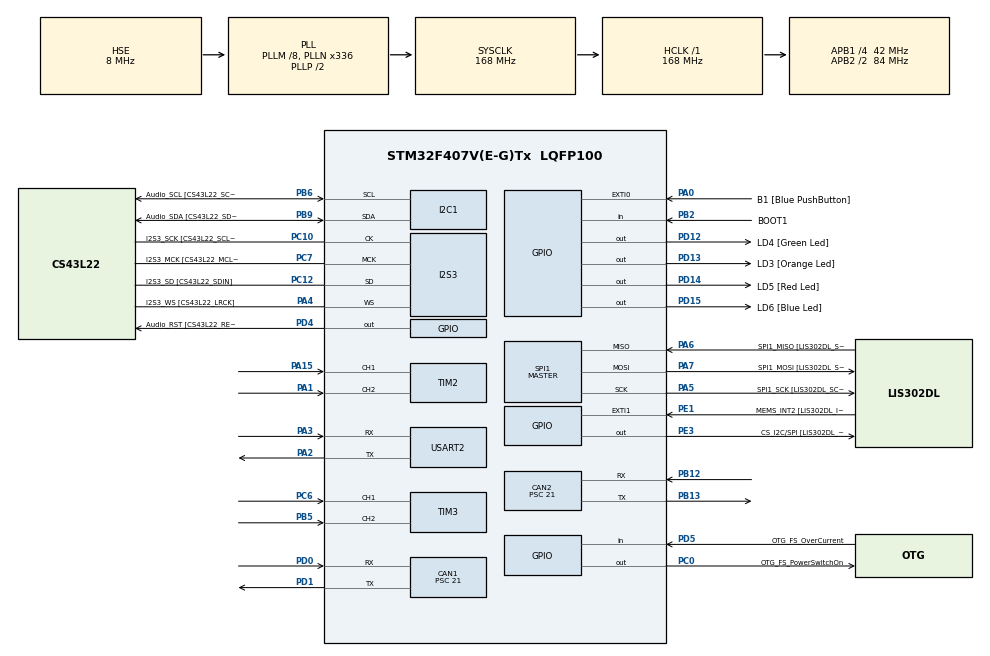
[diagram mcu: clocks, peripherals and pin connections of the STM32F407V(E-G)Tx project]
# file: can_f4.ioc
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CAN1.BS1=CAN_BS1_15TQ
CAN1.BS2=CAN_BS2_4TQ
CAN1.CalculateBaudRate=100000
CAN1.CalculateTimeBit=10000
CAN1.CalculateTimeQuantum=500.0
CAN1.Prescaler=21
CAN2.BS1=CAN_BS1_15TQ
CAN2.BS2=CAN_BS2_4TQ
CAN2.CalculateBaudRate=100000
CAN2.CalculateTimeBit=10000
CAN2.CalculateTimeQuantum=500.0
CAN2.Prescaler=21
I2S3.AudioFreq-Half_Duplex_Master=I2S_AUDIOFREQ_96K
I2S3.ErrorAudioFreq=-2.34 %
I2S3.ErrorAudioFreq-Half_Duplex_Master=0.8 %
I2S3.FullDuplexMode=I2S_FULLDUPLEXMODE_DISABLE
I2S3.Instance=SPI$Index
I2S3.RealAudioFreq=93.75 KHz
I2S3.RealAudioFreq-Half_Duplex_Master=96.774 KHz
I2S3.VirtualMode=I2S_MODE_MASTER
Mcu.Family=STM32F4
Mcu.Name=STM32F407V(E-G)Tx
Mcu.Package=LQFP100
NVIC.CAN1_RX0_IRQn=true\:0\:0\:false\:false\:true\:true\:true\:true
NVIC.CAN1_RX1_IRQn=true\:0\:0\:false\:false\:true\:true\:true\:true
NVIC.CAN2_RX0_IRQn=true\:0\:0\:false\:false\:true\:true\:true\:true
NVIC.CAN2_RX1_IRQn=true\:0\:0\:false\:false\:true\:true\:true\:true
NVIC.PriorityGroup=NVIC_PRIORITYGROUP_0
NVIC.TIM3_IRQn=true\:0\:0\:false\:false\:true\:true\:true\:true
PA0-WKUP.GPIO_Label=B1 [Blue PushButton]
PA0-WKUP.GPIO_ModeDefaultEXTI=GPIO_MODE_EVT_RISING
PA0-WKUP.GPIO_PuPd=GPIO_NOPULL
PA0-WKUP.Signal=GPXTI0
PA1.Signal=S_TIM2_CH2
PA10.GPIO_Label=OTG_FS_ID
PA10.GPIO_Mode=GPIO_MODE_AF_PP
PA10.GPIO_PuPd=GPIO_NOPULL
PA10.GPIO_Speed=GPIO_SPEED_FREQ_LOW
PA10.Signal=USB_OTG_FS_ID
PA11.GPIO_Label=OTG_FS_DM
PA11.GPIO_Mode=GPIO_MODE_AF_PP
PA11.GPIO_PuPd=GPIO_NOPULL
PA11.GPIO_Speed=GPIO_SPEED_FREQ_LOW
PA11.Signal=USB_OTG_FS_DM
PA12.GPIO_Label=OTG_FS_DP
PA12.GPIO_Mode=GPIO_MODE_AF_PP
PA12.GPIO_PuPd=GPIO_NOPULL
PA12.GPIO_Speed=GPIO_SPEED_FREQ_LOW
PA12.Signal=USB_OTG_FS_DP
PA13.GPIO_Label=SWDIO
PA13.Mode=Serial_Wire
PA13.Signal=SYS_JTMS-SWDIO
PA14.GPIO_Label=SWCLK
PA14.Mode=Serial_Wire
PA14.Signal=SYS_JTCK-SWCLK
PA15.Signal=S_TIM2_CH1_ETR
PA2.Mode=Asynchronous
PA2.Signal=USART2_TX
PA3.Mode=Asynchronous
PA3.Signal=USART2_RX
PA4.GPIO_Label=I2S3_WS [CS43L22_LRCK]
PA4.GPIO_Mode=GPIO_MODE_AF_PP
PA4.GPIO_PuPd=GPIO_NOPULL
PA4.GPIO_Speed=GPIO_SPEED_FREQ_LOW
PA4.Mode=Half_Duplex_Master
PA4.Signal=I2S3_WS
PA5.GPIO_Label=SPI1_SCK [LIS302DL_SCL/SPC]
PA5.GPIO_Mode=GPIO_MODE_AF_PP
PA5.GPIO_PuPd=GPIO_NOPULL
PA5.GPIO_Speed=GPIO_SPEED_FREQ_LOW
PA5.Mode=Full_Duplex_Master
PA5.Signal=SPI1_SCK
PA6.GPIO_Label=SPI1_MISO [LIS302DL_SDO]
PA6.GPIO_Mode=GPIO_MODE_AF_PP
PA6.GPIO_PuPd=GPIO_NOPULL
PA6.GPIO_Speed=GPIO_SPEED_FREQ_LOW
PA6.Mode=Full_Duplex_Master
PA6.Signal=SPI1_MISO
PA7.GPIO_Label=SPI1_MOSI [LIS302DL_SDA/SDI/SDO]
PA7.GPIO_Mode=GPIO_MODE_AF_PP
PA7.GPIO_PuPd=GPIO_NOPULL
PA7.GPIO_Speed=GPIO_SPEED_FREQ_LOW
PA7.Mode=Full_Duplex_Master
PA7.Signal=SPI1_MOSI
PA9.GPIO_Label=VBUS_FS
PA9.GPIO_Mode=GPIO_MODE_INPUT
PA9.GPIO_PuPd=GPIO_NOPULL
PA9.Signal=USB_OTG_FS_VBUS
PB10.GPIO_Label=CLK_IN [MP45DT02_CLK]
PB10.GPIO_Mode=GPIO_MODE_AF_PP
PB10.GPIO_PuPd=GPIO_NOPULL
PB10.GPIO_Speed=GPIO_SPEED_FREQ_LOW
PB10.Signal=I2S2_CK
PB12.Mode=CAN_Activate
PB12.Signal=CAN2_RX
PB13.Mode=CAN_Activate
PB13.Signal=CAN2_TX
PB2.GPIO_Label=BOOT1
PB2.GPIO_Mode=GPIO_MODE_INPUT
PB2.GPIO_PuPd=GPIO_NOPULL
PB2.Signal=GPIO_Input
PB3.GPIO_Label=SWO
PB3.Signal=SYS_JTDO-SWO
PB5.Signal=S_TIM3_CH2
PB6.GPIO_Label=Audio_SCL [CS43L22_SCL]
PB6.GPIO_Mode=GPIO_MODE_AF_OD
PB6.GPIO_Pu=GPIO_PULLUP
PB6.GPIO_PuPd=GPIO_NOPULL
PB6.GPIO_Speed=GPIO_SPEED_FREQ_LOW
PB6.Mode=I2C
PB6.Signal=I2C1_SCL
PB9.GPIO_Label=Audio_SDA [CS43L22_SDA]
PB9.GPIO_Mode=GPIO_MODE_AF_OD
PB9.GPIO_Pu=GPIO_PULLUP
PB9.GPIO_PuPd=GPIO_NOPULL
PB9.GPIO_Speed=GPIO_SPEED_FREQ_LOW
PB9.Mode=I2C
PB9.Signal=I2C1_SDA
PC0.GPIO_Label=OTG_FS_PowerSwitchOn
PC0.GPIO_PuPd=GPIO_NOPULL
PC0.GPIO_Speed=GPIO_SPEED_FREQ_LOW
PC0.PinState=GPIO_PIN_SET
PC0.Signal=GPIO_Output
PC10.GPIO_Label=I2S3_SCK [CS43L22_SCLK]
PC10.GPIO_Mode=GPIO_MODE_AF_PP
PC10.GPIO_PuPd=GPIO_NOPULL
PC10.GPIO_Speed=GPIO_SPEED_FREQ_LOW
PC10.Mode=Half_Duplex_Master
PC10.Signal=I2S3_CK
PC12.GPIO_Label=I2S3_SD [CS43L22_SDIN]
PC12.GPIO_Mode=GPIO_MODE_AF_PP
PC12.GPIO_PuPd=GPIO_NOPULL
PC12.GPIO_Speed=GPIO_SPEED_FREQ_LOW
PC12.Mode=Half_Duplex_Master
PC12.Signal=I2S3_SD
PC14-OSC32_IN.GPIO_Label=PC14-OSC32_IN
PC14-OSC32_IN.Mode=LSE-External-Oscillator
PC14-OSC32_IN.Signal=RCC_OSC32_IN
PC15-OSC32_OUT.GPIO_Label=PC15-OSC32_OUT
PC15-OSC32_OUT.Mode=LSE-External-Oscillator
PC15-OSC32_OUT.Signal=RCC_OSC32_OUT
PC3.GPIO_Label=PDM_OUT [MP45DT02_DOUT]
PC3.GPIO_Mode=GPIO_MODE_AF_PP
PC3.GPIO_PuPd=GPIO_NOPULL
PC3.GPIO_Speed=GPIO_SPEED_FREQ_LOW
PC3.Signal=I2S2_SD
PC6.Signal=S_TIM3_CH1
PC7.GPIO_Label=I2S3_MCK [CS43L22_MCLK]
PC7.GPIO_Mode=GPIO_MODE_AF_PP
PC7.GPIO_PuPd=GPIO_NOPULL
PC7.GPIO_Speed=GPIO_SPEED_FREQ_LOW
PC7.Mode=Master_Clock_Activated
PC7.Signal=I2S3_MCK
PD0.Mode=CAN_Activate
PD0.Signal=CAN1_RX
PD1.Mode=CAN_Activate
PD1.Signal=CAN1_TX
PD12.GPIO_Label=LD4 [Green Led]
PD12.GPIO_PuPd=GPIO_NOPULL
PD12.GPIO_Speed=GPIO_SPEED_FREQ_LOW
PD12.Signal=GPIO_Output
PD13.GPIO_Label=LD3 [Orange Led]
PD13.GPIO_PuPd=GPIO_NOPULL
PD13.GPIO_Speed=GPIO_SPEED_FREQ_LOW
PD13.Signal=GPIO_Output
PD14.GPIO_Label=LD5 [Red Led]
PD14.GPIO_PuPd=GPIO_NOPULL
PD14.GPIO_Speed=GPIO_SPEED_FREQ_LOW
PD14.Signal=GPIO_Output
PD15.GPIO_Label=LD6 [Blue Led]
PD15.GPIO_PuPd=GPIO_NOPULL
PD15.GPIO_Speed=GPIO_SPEED_FREQ_LOW
PD15.Signal=GPIO_Output
PD4.GPIO_Label=Audio_RST [CS43L22_RESET]
PD4.GPIO_PuPd=GPIO_NOPULL
PD4.GPIO_Speed=GPIO_SPEED_FREQ_LOW
PD4.Signal=GPIO_Output
PD5.GPIO_Label=OTG_FS_OverCurrent
PD5.GPIO_Mode=GPIO_MODE_INPUT
PD5.GPIO_PuPd=GPIO_NOPULL
PD5.Signal=GPIO_Input
PE1.GPIO_Label=MEMS_INT2 [LIS302DL_INT2]
PE1.GPIO_ModeDefaultEXTI=GPIO_MODE_EVT_RISING
PE1.GPIO_PuPd=GPIO_NOPULL
PE1.Signal=GPXTI1
PE3.GPIO_Label=CS_I2C/SPI [LIS302DL_CS_I2C/SPI]
PE3.GPIO_PuPd=GPIO_NOPULL
PE3.GPIO_Speed=GPIO_SPEED_FREQ_LOW
PE3.Signal=GPIO_Output
PH0-OSC_IN.GPIO_Label=PH0-OSC_IN
PH0-OSC_IN.Mode=HSE-External-Oscillator
PH0-OSC_IN.Signal=RCC_OSC_IN
PH1-OSC_OUT.GPIO_Label=PH1-OSC_OUT
PH1-OSC_OUT.Mode=HSE-External-Oscillator
PH1-OSC_OUT.Signal=RCC_OSC_OUT
ProjectManager.HeapSize=0x200
ProjectManager.StackSize=0x400
ProjectManager.TargetToolchain=STM32CubeIDE
RCC.48MHZClocksFreq_Value=48000000
RCC.AHBFreq_Value=168000000
RCC.APB1CLKDivider=RCC_HCLK_DIV4
RCC.APB1Freq_Value=42000000
RCC.APB1TimFreq_Value=84000000
RCC.APB2CLKDivider=RCC_HCLK_DIV2
RCC.APB2Freq_Value=84000000
RCC.APB2TimFreq_Value=168000000
RCC.CortexFreq_Value=168000000
RCC.HCLKFreq_Value=168000000
RCC.HSE_VALUE=8000000
RCC.HSI_VALUE=16000000
RCC.PLLM=8
RCC.PLLN=336
RCC.PLLQ=7
RCC.PLLSourceVirtual=RCC_PLLSOURCE_HSE
RCC.SYSCLKFreq_VALUE=168000000
RCC.SYSCLKSource=RCC_SYSCLKSOURCE_PLLCLK
RCC.VCOOutputFreq_Value=336000000
SH.S_TIM2_CH1_ETR.0=TIM2_CH1,Encoder_Interface
SH.S_TIM2_CH2.0=TIM2_CH2,Encoder_Interface
SH.S_TIM3_CH1.0=TIM3_CH1,Encoder_Interface
SH.S_TIM3_CH2.0=TIM3_CH2,Encoder_Interface
SPI1.BaudRatePrescaler-Full_Duplex_Master=SPI_BAUDRATEPRESCALER_2
SPI1.CalculateBaudRate-Full_Duplex_Master=42.0 MBits/s
SPI1.Direction=SPI_DIRECTION_2LINES
SPI1.Mode=SPI_MODE_MASTER
SPI1.Mode-Full_Duplex_Master=SPI_MODE_MASTER
SPI1.VirtualType=VM_MASTER
TIM2.EncoderMode=TIM_ENCODERMODE_TI12
TIM3.EncoderMode=TIM_ENCODERMODE_TI12
USART2.VirtualMode=VM_ASYNC
board=STM32F407G-DISC1

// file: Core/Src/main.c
/* USER CODE BEGIN Header */
/**
  ******************************************************************************
  * @file           : main.c
  * @brief          : Main program body
  ******************************************************************************
  * @attention
  *
  * Copyright (c) 2023 STMicroelectronics.
  * All rights reserved.
  *
  * This software is licensed under terms that can be found in the LICENSE file
  * in the root directory of this software component.
  * If no LICENSE file comes with this software, it is provided AS-IS.
  *
  ******************************************************************************
  */
/* USER CODE END Header */
#include "main.h"

CAN_HandleTypeDef hcan1;
CAN_HandleTypeDef hcan2;

I2C_HandleTypeDef hi2c1;

I2S_HandleTypeDef hi2s3;

SPI_HandleTypeDef hspi1;

TIM_HandleTypeDef htim2;
TIM_HandleTypeDef htim3;

UART_HandleTypeDef huart2;

void SystemClock_Config(void);
static void MX_GPIO_Init(void);
static void MX_I2C1_Init(void);
static void MX_I2S3_Init(void);
static void MX_SPI1_Init(void);
static void MX_CAN1_Init(void);
static void MX_TIM2_Init(void);
static void MX_USART2_UART_Init(void);
static void MX_CAN2_Init(void);
static void MX_TIM3_Init(void);

/* USER CODE BEGIN 0 */
uint32_t rot_new_state;
uint32_t rot_old_state;
uint32_t rot_cnt;
int rot_new_state1;
int rot_old_state1;
int rot_cnt1;
uint32_t _write(int file, char* p, int len){
	HAL_UART_Transmit(&huart2, p, len, 10);
	return len;

}
CAN_FilterRegister_TypeDef canFilter1;
CAN_RxHeaderTypeDef canRxHeader;
CAN_TxHeaderTypeDef canTxHeader;
uint8_t canRx0Data[8];
uint32_t txMailBox;
//uint8_t canTx0Data[8];

long int TxData[4];
uint8_t RxData[1] ;
uint8_t countq = 0;

void HAL_CAN_RxFifo0MsgPendingCallback(CAN_HandleTypeDef *hcan2){
	countq++;
}
/* USER CODE END 0 */

int main(void)
{

  /* MCU Configuration--------------------------------------------------------*/

  /* Reset of all peripherals, Initializes the Flash interface and the Systick. */
  HAL_Init();

  /* Configure the system clock */
  SystemClock_Config();

  /* Initialize all configured peripherals */
  MX_GPIO_Init();
  MX_I2C1_Init();
  MX_I2S3_Init();
  MX_SPI1_Init();
  MX_CAN1_Init();
  MX_TIM2_Init();
  MX_USART2_UART_Init();
  MX_CAN2_Init();
  MX_TIM3_Init();
  /* USER CODE BEGIN 2 */
  HAL_CAN_Start(&hcan2);
  HAL_TIM_Encoder_Start_IT(&htim2, TIM_CHANNEL_ALL);
  HAL_TIM_Encoder_Start_IT(&htim3, TIM_CHANNEL_ALL);
  HAL_CAN_ActivateNotification(&hcan2, CAN_IT_RX_FIFO0_MSG_PENDING);
  canTxHeader.StdId = 0x102;
  canTxHeader.RTR = CAN_RTR_DATA;
  canTxHeader.IDE = CAN_ID_STD;
  canTxHeader.DLC = 4;
//  canTxHeader.TransmitGlobalTime = DISABLE;
  /* USER CODE END 2 */

  /* Infinite loop */
  while (1)
  {
	  uint32_t last_print = 0, now = 0;
	  unsigned char a[4];
	    long int count1 = (int)TIM2->CNT/4;
	    uint16_t count = TIM3->CNT/4;
	    a[0] =  (unsigned)count1 >> 8;
	    a[1] =  (unsigned) count1;
	    a[2] = (unsigned) count >>  8;
	    a[3] = (unsigned) count;
	 	now = HAL_GetTick();
	 	if (now - last_print >= 1000) {
	 		printf("Encoder counter = %ld AND %ld\n", count, count1);
	 		HAL_CAN_AddTxMessage(&hcan2, &canTxHeader, a, &txMailBox);
	 		last_print = now;

	     }

  }
}

void SystemClock_Config(void)
{
  RCC_OscInitTypeDef RCC_OscInitStruct = {0};
  RCC_ClkInitTypeDef RCC_ClkInitStruct = {0};

  /** Configure the main internal regulator output voltage
  */
  __HAL_RCC_PWR_CLK_ENABLE();
  __HAL_PWR_VOLTAGESCALING_CONFIG(PWR_REGULATOR_VOLTAGE_SCALE1);

  /** Initializes the RCC Oscillators according to the specified parameters
  * in the RCC_OscInitTypeDef structure.
  */
  RCC_OscInitStruct.OscillatorType = RCC_OSCILLATORTYPE_HSE;
  RCC_OscInitStruct.HSEState = RCC_HSE_ON;
  RCC_OscInitStruct.PLL.PLLState = RCC_PLL_ON;
  RCC_OscInitStruct.PLL.PLLSource = RCC_PLLSOURCE_HSE;
  RCC_OscInitStruct.PLL.PLLM = 8;
  RCC_OscInitStruct.PLL.PLLN = 336;
  RCC_OscInitStruct.PLL.PLLP = RCC_PLLP_DIV2;
  RCC_OscInitStruct.PLL.PLLQ = 7;
  if (HAL_RCC_OscConfig(&RCC_OscInitStruct) != HAL_OK)
  {
    Error_Handler();
  }

  /** Initializes the CPU, AHB and APB buses clocks
  */
  RCC_ClkInitStruct.ClockType = RCC_CLOCKTYPE_HCLK|RCC_CLOCKTYPE_SYSCLK
                              |RCC_CLOCKTYPE_PCLK1|RCC_CLOCKTYPE_PCLK2;
  RCC_ClkInitStruct.SYSCLKSource = RCC_SYSCLKSOURCE_PLLCLK;
  RCC_ClkInitStruct.AHBCLKDivider = RCC_SYSCLK_DIV1;
  RCC_ClkInitStruct.APB1CLKDivider = RCC_HCLK_DIV4;
  RCC_ClkInitStruct.APB2CLKDivider = RCC_HCLK_DIV2;

  if (HAL_RCC_ClockConfig(&RCC_ClkInitStruct, FLASH_LATENCY_5) != HAL_OK)
  {
    Error_Handler();
  }
}

static void MX_CAN1_Init(void)
{

  hcan1.Instance = CAN1;
  hcan1.Init.Prescaler = 21;
  hcan1.Init.Mode = CAN_MODE_NORMAL;
  hcan1.Init.SyncJumpWidth = CAN_SJW_1TQ;
  hcan1.Init.TimeSeg1 = CAN_BS1_15TQ;
  hcan1.Init.TimeSeg2 = CAN_BS2_4TQ;
  hcan1.Init.TimeTriggeredMode = DISABLE;
  hcan1.Init.AutoBusOff = DISABLE;
  hcan1.Init.AutoWakeUp = DISABLE;
  hcan1.Init.AutoRetransmission = DISABLE;
  hcan1.Init.ReceiveFifoLocked = DISABLE;
  hcan1.Init.TransmitFifoPriority = DISABLE;
  if (HAL_CAN_Init(&hcan1) != HAL_OK)
  {
    Error_Handler();
  }

}

static void MX_CAN2_Init(void)
{

  hcan2.Instance = CAN2;
  hcan2.Init.Prescaler = 21;
  hcan2.Init.Mode = CAN_MODE_NORMAL;
  hcan2.Init.SyncJumpWidth = CAN_SJW_1TQ;
  hcan2.Init.TimeSeg1 = CAN_BS1_15TQ;
  hcan2.Init.TimeSeg2 = CAN_BS2_4TQ;
  hcan2.Init.TimeTriggeredMode = DISABLE;
  hcan2.Init.AutoBusOff = DISABLE;
  hcan2.Init.AutoWakeUp = DISABLE;
  hcan2.Init.AutoRetransmission = DISABLE;
  hcan2.Init.ReceiveFifoLocked = DISABLE;
  hcan2.Init.TransmitFifoPriority = DISABLE;
  if (HAL_CAN_Init(&hcan2) != HAL_OK)
  {
    Error_Handler();
  }

}

static void MX_I2C1_Init(void)
{

  hi2c1.Instance = I2C1;
  hi2c1.Init.ClockSpeed = 100000;
  hi2c1.Init.DutyCycle = I2C_DUTYCYCLE_2;
  hi2c1.Init.OwnAddress1 = 0;
  hi2c1.Init.AddressingMode = I2C_ADDRESSINGMODE_7BIT;
  hi2c1.Init.DualAddressMode = I2C_DUALADDRESS_DISABLE;
  hi2c1.Init.OwnAddress2 = 0;
  hi2c1.Init.GeneralCallMode = I2C_GENERALCALL_DISABLE;
  hi2c1.Init.NoStretchMode = I2C_NOSTRETCH_DISABLE;
  if (HAL_I2C_Init(&hi2c1) != HAL_OK)
  {
    Error_Handler();
  }

}

static void MX_I2S3_Init(void)
{

  hi2s3.Instance = SPI3;
  hi2s3.Init.Mode = I2S_MODE_MASTER_TX;
  hi2s3.Init.Standard = I2S_STANDARD_PHILIPS;
  hi2s3.Init.DataFormat = I2S_DATAFORMAT_16B;
  hi2s3.Init.MCLKOutput = I2S_MCLKOUTPUT_ENABLE;
  hi2s3.Init.AudioFreq = I2S_AUDIOFREQ_96K;
  hi2s3.Init.CPOL = I2S_CPOL_LOW;
  hi2s3.Init.ClockSource = I2S_CLOCK_PLL;
  hi2s3.Init.FullDuplexMode = I2S_FULLDUPLEXMODE_DISABLE;
  if (HAL_I2S_Init(&hi2s3) != HAL_OK)
  {
    Error_Handler();
  }

}

static void MX_SPI1_Init(void)
{

  /* SPI1 parameter configuration*/
  hspi1.Instance = SPI1;
  hspi1.Init.Mode = SPI_MODE_MASTER;
  hspi1.Init.Direction = SPI_DIRECTION_2LINES;
  hspi1.Init.DataSize = SPI_DATASIZE_8BIT;
  hspi1.Init.CLKPolarity = SPI_POLARITY_LOW;
  hspi1.Init.CLKPhase = SPI_PHASE_1EDGE;
  hspi1.Init.NSS = SPI_NSS_SOFT;
  hspi1.Init.BaudRatePrescaler = SPI_BAUDRATEPRESCALER_2;
  hspi1.Init.FirstBit = SPI_FIRSTBIT_MSB;
  hspi1.Init.TIMode = SPI_TIMODE_DISABLE;
  hspi1.Init.CRCCalculation = SPI_CRCCALCULATION_DISABLE;
  hspi1.Init.CRCPolynomial = 10;
  if (HAL_SPI_Init(&hspi1) != HAL_OK)
  {
    Error_Handler();
  }

}

static void MX_TIM2_Init(void)
{

  TIM_Encoder_InitTypeDef sConfig = {0};
  TIM_MasterConfigTypeDef sMasterConfig = {0};

  htim2.Instance = TIM2;
  htim2.Init.Prescaler = 0;
  htim2.Init.CounterMode = TIM_COUNTERMODE_UP;
  htim2.Init.Period = 4294967295;
  htim2.Init.ClockDivision = TIM_CLOCKDIVISION_DIV1;
  htim2.Init.AutoReloadPreload = TIM_AUTORELOAD_PRELOAD_DISABLE;
  sConfig.EncoderMode = TIM_ENCODERMODE_TI12;
  sConfig.IC1Polarity = TIM_ICPOLARITY_RISING;
  sConfig.IC1Selection = TIM_ICSELECTION_DIRECTTI;
  sConfig.IC1Prescaler = TIM_ICPSC_DIV1;
  sConfig.IC1Filter = 0;
  sConfig.IC2Polarity = TIM_ICPOLARITY_RISING;
  sConfig.IC2Selection = TIM_ICSELECTION_DIRECTTI;
  sConfig.IC2Prescaler = TIM_ICPSC_DIV1;
  sConfig.IC2Filter = 0;
  if (HAL_TIM_Encoder_Init(&htim2, &sConfig) != HAL_OK)
  {
    Error_Handler();
  }
  sMasterConfig.MasterOutputTrigger = TIM_TRGO_RESET;
  sMasterConfig.MasterSlaveMode = TIM_MASTERSLAVEMODE_DISABLE;
  if (HAL_TIMEx_MasterConfigSynchronization(&htim2, &sMasterConfig) != HAL_OK)
  {
    Error_Handler();
  }

}

static void MX_TIM3_Init(void)
{

  TIM_Encoder_InitTypeDef sConfig = {0};
  TIM_MasterConfigTypeDef sMasterConfig = {0};

  htim3.Instance = TIM3;
  htim3.Init.Prescaler = 0;
  htim3.Init.CounterMode = TIM_COUNTERMODE_UP;
  htim3.Init.Period = 65535;
  htim3.Init.ClockDivision = TIM_CLOCKDIVISION_DIV1;
  htim3.Init.AutoReloadPreload = TIM_AUTORELOAD_PRELOAD_DISABLE;
  sConfig.EncoderMode = TIM_ENCODERMODE_TI12;
  sConfig.IC1Polarity = TIM_ICPOLARITY_RISING;
  sConfig.IC1Selection = TIM_ICSELECTION_DIRECTTI;
  sConfig.IC1Prescaler = TIM_ICPSC_DIV1;
  sConfig.IC1Filter = 0;
  sConfig.IC2Polarity = TIM_ICPOLARITY_RISING;
  sConfig.IC2Selection = TIM_ICSELECTION_DIRECTTI;
  sConfig.IC2Prescaler = TIM_ICPSC_DIV1;
  sConfig.IC2Filter = 0;
  if (HAL_TIM_Encoder_Init(&htim3, &sConfig) != HAL_OK)
  {
    Error_Handler();
  }
  sMasterConfig.MasterOutputTrigger = TIM_TRGO_RESET;
  sMasterConfig.MasterSlaveMode = TIM_MASTERSLAVEMODE_DISABLE;
  if (HAL_TIMEx_MasterConfigSynchronization(&htim3, &sMasterConfig) != HAL_OK)
  {
    Error_Handler();
  }

}

static void MX_USART2_UART_Init(void)
{

  huart2.Instance = USART2;
  huart2.Init.BaudRate = 115200;
  huart2.Init.WordLength = UART_WORDLENGTH_8B;
  huart2.Init.StopBits = UART_STOPBITS_1;
  huart2.Init.Parity = UART_PARITY_NONE;
  huart2.Init.Mode = UART_MODE_TX_RX;
  huart2.Init.HwFlowCtl = UART_HWCONTROL_NONE;
  huart2.Init.OverSampling = UART_OVERSAMPLING_16;
  if (HAL_UART_Init(&huart2) != HAL_OK)
  {
    Error_Handler();
  }

}

static void MX_GPIO_Init(void)
{
  GPIO_InitTypeDef GPIO_InitStruct = {0};

  /* GPIO Ports Clock Enable */
  __HAL_RCC_GPIOE_CLK_ENABLE();
  __HAL_RCC_GPIOC_CLK_ENABLE();
  __HAL_RCC_GPIOH_CLK_ENABLE();
  __HAL_RCC_GPIOA_CLK_ENABLE();
  __HAL_RCC_GPIOB_CLK_ENABLE();
  __HAL_RCC_GPIOD_CLK_ENABLE();

  /*Configure GPIO pin Output Level */
  HAL_GPIO_WritePin(CS_I2C_SPI_GPIO_Port, CS_I2C_SPI_Pin, GPIO_PIN_RESET);

  /*Configure GPIO pin Output Level */
  HAL_GPIO_WritePin(OTG_FS_PowerSwitchOn_GPIO_Port, OTG_FS_PowerSwitchOn_Pin, GPIO_PIN_SET);

  /*Configure GPIO pin Output Level */
  HAL_GPIO_WritePin(GPIOD, LD4_Pin|LD3_Pin|LD5_Pin|LD6_Pin
                          |Audio_RST_Pin, GPIO_PIN_RESET);

  /*Configure GPIO pin : CS_I2C_SPI_Pin */
  GPIO_InitStruct.Pin = CS_I2C_SPI_Pin;
  GPIO_InitStruct.Mode = GPIO_MODE_OUTPUT_PP;
  GPIO_InitStruct.Pull = GPIO_NOPULL;
  GPIO_InitStruct.Speed = GPIO_SPEED_FREQ_LOW;
  HAL_GPIO_Init(CS_I2C_SPI_GPIO_Port, &GPIO_InitStruct);

  /*Configure GPIO pin : OTG_FS_PowerSwitchOn_Pin */
  GPIO_InitStruct.Pin = OTG_FS_PowerSwitchOn_Pin;
  GPIO_InitStruct.Mode = GPIO_MODE_OUTPUT_PP;
  GPIO_InitStruct.Pull = GPIO_NOPULL;
  GPIO_InitStruct.Speed = GPIO_SPEED_FREQ_LOW;
  HAL_GPIO_Init(OTG_FS_PowerSwitchOn_GPIO_Port, &GPIO_InitStruct);

  /*Configure GPIO pin : PDM_OUT_Pin */
  GPIO_InitStruct.Pin = PDM_OUT_Pin;
  GPIO_InitStruct.Mode = GPIO_MODE_AF_PP;
  GPIO_InitStruct.Pull = GPIO_NOPULL;
  GPIO_InitStruct.Speed = GPIO_SPEED_FREQ_LOW;
  GPIO_InitStruct.Alternate = GPIO_AF5_SPI2;
  HAL_GPIO_Init(PDM_OUT_GPIO_Port, &GPIO_InitStruct);

  /*Configure GPIO pin : B1_Pin */
  GPIO_InitStruct.Pin = B1_Pin;
  GPIO_InitStruct.Mode = GPIO_MODE_EVT_RISING;
  GPIO_InitStruct.Pull = GPIO_NOPULL;
  HAL_GPIO_Init(B1_GPIO_Port, &GPIO_InitStruct);

  /*Configure GPIO pin : BOOT1_Pin */
  GPIO_InitStruct.Pin = BOOT1_Pin;
  GPIO_InitStruct.Mode = GPIO_MODE_INPUT;
  GPIO_InitStruct.Pull = GPIO_NOPULL;
  HAL_GPIO_Init(BOOT1_GPIO_Port, &GPIO_InitStruct);

  /*Configure GPIO pin : CLK_IN_Pin */
  GPIO_InitStruct.Pin = CLK_IN_Pin;
  GPIO_InitStruct.Mode = GPIO_MODE_AF_PP;
  GPIO_InitStruct.Pull = GPIO_NOPULL;
  GPIO_InitStruct.Speed = GPIO_SPEED_FREQ_LOW;
  GPIO_InitStruct.Alternate = GPIO_AF5_SPI2;
  HAL_GPIO_Init(CLK_IN_GPIO_Port, &GPIO_InitStruct);

  /*Configure GPIO pins : LD4_Pin LD3_Pin LD5_Pin LD6_Pin
                           Audio_RST_Pin */
  GPIO_InitStruct.Pin = LD4_Pin|LD3_Pin|LD5_Pin|LD6_Pin
                          |Audio_RST_Pin;
  GPIO_InitStruct.Mode = GPIO_MODE_OUTPUT_PP;
  GPIO_InitStruct.Pull = GPIO_NOPULL;
  GPIO_InitStruct.Speed = GPIO_SPEED_FREQ_LOW;
  HAL_GPIO_Init(GPIOD, &GPIO_InitStruct);

  /*Configure GPIO pin : VBUS_FS_Pin */
  GPIO_InitStruct.Pin = VBUS_FS_Pin;
  GPIO_InitStruct.Mode = GPIO_MODE_INPUT;
  GPIO_InitStruct.Pull = GPIO_NOPULL;
  HAL_GPIO_Init(VBUS_FS_GPIO_Port, &GPIO_InitStruct);

  /*Configure GPIO pins : OTG_FS_ID_Pin OTG_FS_DM_Pin OTG_FS_DP_Pin */
  GPIO_InitStruct.Pin = OTG_FS_ID_Pin|OTG_FS_DM_Pin|OTG_FS_DP_Pin;
  GPIO_InitStruct.Mode = GPIO_MODE_AF_PP;
  GPIO_InitStruct.Pull = GPIO_NOPULL;
  GPIO_InitStruct.Speed = GPIO_SPEED_FREQ_LOW;
  GPIO_InitStruct.Alternate = GPIO_AF10_OTG_FS;
  HAL_GPIO_Init(GPIOA, &GPIO_InitStruct);

  /*Configure GPIO pin : OTG_FS_OverCurrent_Pin */
  GPIO_InitStruct.Pin = OTG_FS_OverCurrent_Pin;
  GPIO_InitStruct.Mode = GPIO_MODE_INPUT;
  GPIO_InitStruct.Pull = GPIO_NOPULL;
  HAL_GPIO_Init(OTG_FS_OverCurrent_GPIO_Port, &GPIO_InitStruct);

  /*Configure GPIO pin : MEMS_INT2_Pin */
  GPIO_InitStruct.Pin = MEMS_INT2_Pin;
  GPIO_InitStruct.Mode = GPIO_MODE_EVT_RISING;
  GPIO_InitStruct.Pull = GPIO_NOPULL;
  HAL_GPIO_Init(MEMS_INT2_GPIO_Port, &GPIO_InitStruct);

}

/* USER CODE BEGIN 4 */
uint32_t rot_get_state() {
	return (uint32_t)((HAL_GPIO_ReadPin(GPIOA, GPIO_PIN_1) << 1)
                | (HAL_GPIO_ReadPin(GPIOA, GPIO_PIN_15)));
}
int rot_get_state1() {
	return (int)((HAL_GPIO_ReadPin(GPIOB, GPIO_PIN_5) << 1)
                | (HAL_GPIO_ReadPin(GPIOC, GPIO_PIN_6)));
}
// External interrupts from rotary encoder
void HAL_GPIO_EXTI_Callback(uint16_t GPIO_Pin) {

	if (GPIO_Pin == GPIO_PIN_15 || GPIO_Pin == GPIO_PIN_1) {

		rot_new_state = rot_get_state();  //https://stm32world.com/wiki/STM32_Rotary_Encoder

		printf("rotation = %ld:%ld\n", rot_old_state, rot_new_state);

		// Check transition
		if (rot_old_state == 3 && rot_new_state == 2) {        // 3 -> 2 transition
			rot_cnt++;
		} else if (rot_old_state == 2 && rot_new_state == 0) { // 2 -> 0 transition
			rot_cnt++;
		} else if (rot_old_state == 0 && rot_new_state == 1) { // 0 -> 1 transition
			rot_cnt++;
		} else if (rot_old_state == 1 && rot_new_state == 3) { // 1 -> 3 transition
			rot_cnt++;
		} else if (rot_old_state == 3 && rot_new_state == 1) { // 3 -> 1 transition
			rot_cnt--;
		} else if (rot_old_state == 1 && rot_new_state == 0) { // 1 -> 0 transition
			rot_cnt--;
		} else if (rot_old_state == 0 && rot_new_state == 2) { // 0 -> 2 transition
			rot_cnt--;
		} else if (rot_old_state == 2 && rot_new_state == 3) { // 2 -> 3 transition
			rot_cnt--;
		}

		rot_old_state = rot_new_state;
	}
	if (GPIO_Pin == GPIO_PIN_6 || GPIO_Pin == GPIO_PIN_5) {

			rot_new_state1 = rot_get_state1();  //https://stm32world.com/wiki/STM32_Rotary_Encoder

			printf("rotation = %ld:%ld\n", rot_old_state1, rot_new_state1);

			// Check transition
			if (rot_old_state1 == 3 && rot_new_state1 == 2) {        // 3 -> 2 transition
				rot_cnt1++;
			} else if (rot_old_state1 == 2 && rot_new_state1 == 0) { // 2 -> 0 transition
				rot_cnt1++;
			} else if (rot_old_state1 == 0 && rot_new_state1 == 1) { // 0 -> 1 transition
				rot_cnt1++;
			} else if (rot_old_state1 == 1 && rot_new_state1 == 3) { // 1 -> 3 transition
				rot_cnt1++;
			} else if (rot_old_state1 == 3 && rot_new_state1 == 1) { // 3 -> 1 transition
				rot_cnt1--;
			} else if (rot_old_state1 == 1 && rot_new_state1 == 0) { // 1 -> 0 transition
				rot_cnt1--;
			} else if (rot_old_state1 == 0 && rot_new_state1 == 2) { // 0 -> 2 transition
				rot_cnt1--;
			} else if (rot_old_state1 == 2 && rot_new_state1 == 3) { // 2 -> 3 transition
				rot_cnt1--;
			}

			rot_old_state1 = rot_new_state1;
		}

}
/* USER CODE END 4 */

void Error_Handler(void)
{
  __disable_irq();
  while (1)
  {
  }
}
